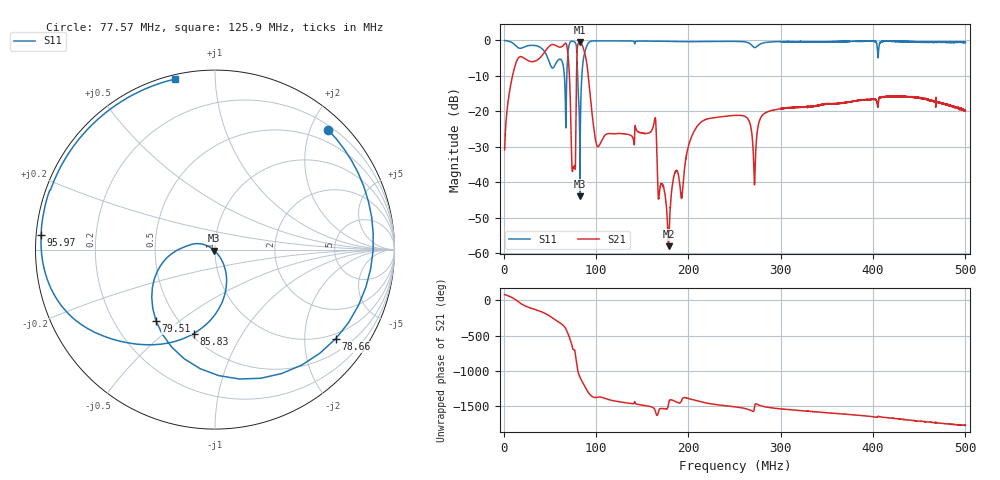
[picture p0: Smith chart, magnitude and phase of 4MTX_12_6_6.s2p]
! NanoVNA-App
! Date: 2026-08-18 21:37:26
! Start: 1MHz Stop: 500MHz Points: 6401
! S-Parameter data: F S11 S21 S12 S22
# Hz S RI R 50
!  Frequency  S11_Real  S11_Imag  S21_Real  S21_Imag  S12_Real  S12_Imag  S22_Real  S22_Imag
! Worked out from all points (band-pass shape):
!   6401 points, 1 MHz to 500 MHz, reference 50 ohm
!   highest |S21| = -0.66 dB at 82.63 MHz (marker M1); lowest = -58.0 dB at 178.5 MHz (marker M2)
!   |S21| within 3 dB of the highest: 43.5 MHz to 69.46 MHz (25.96 MHz wide, 46 % of centre); 79.45 MHz to 87.81 MHz (8.36 MHz wide, 10 % of centre)
!   lowest |S11| = -44.0 dB at 82.63 MHz (marker M3), VSWR 1.01, Z = 49.6 - j0.499 ohm
!   |S11| at or under -10 dB: 65.71 MHz to 68.36 MHz (2.646 MHz wide, 3.95 % of centre); 80 MHz to 84.64 MHz (4.647 MHz wide, 5.65 % of centre)
!   S12 and S22 are empty: the file has one direction only
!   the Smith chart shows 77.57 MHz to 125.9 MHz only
!   S11 on the Smith chart (normalised r, x): 77.57 MHz: 0.27, +2.29; 78.66 MHz: 0.85, -2.80; 79.51 MHz: 0.38, -0.41; 85.83 MHz: 0.52, -0.64; 95.97 MHz: 0.01, +0.04; 125.9 MHz: 0.02, +0.79
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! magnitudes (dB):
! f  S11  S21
! 1 MHz  -0.1  -30.9
! 14.8 MHz  -2.0  -5.5
! 52.69 MHz  -7.9  -1.2
! 67.74 MHz  -17.4  -1.0
! 75.23 MHz  -0.3  -36.0
! 77.57 MHz  -0.7  -36.2
! 78.66 MHz  -1.6  -14.1
! 79.51 MHz  -5.7  -3.3
! 82.63 MHz  -44.0  -0.7
! 84.19 MHz  -12.2  -1.0
! 85.83 MHz  -6.3  -2.0
! 95.97 MHz  -0.2  -21.3
! 125.9 MHz  -0.2  -26.3
! 162.8 MHz  -0.3  -23.4
! 167.4 MHz  -0.3  -44.2
! 178.5 MHz  -0.3  -58.0
! 207.9 MHz  -0.4  -24.9
! 250.5 MHz  -0.4  -21.2
! 271.6 MHz  -2.1  -40.7
! 333.7 MHz  -0.5  -18.6
! 416.9 MHz  -0.3  -15.9
! 500 MHz  -0.6  -19.8
